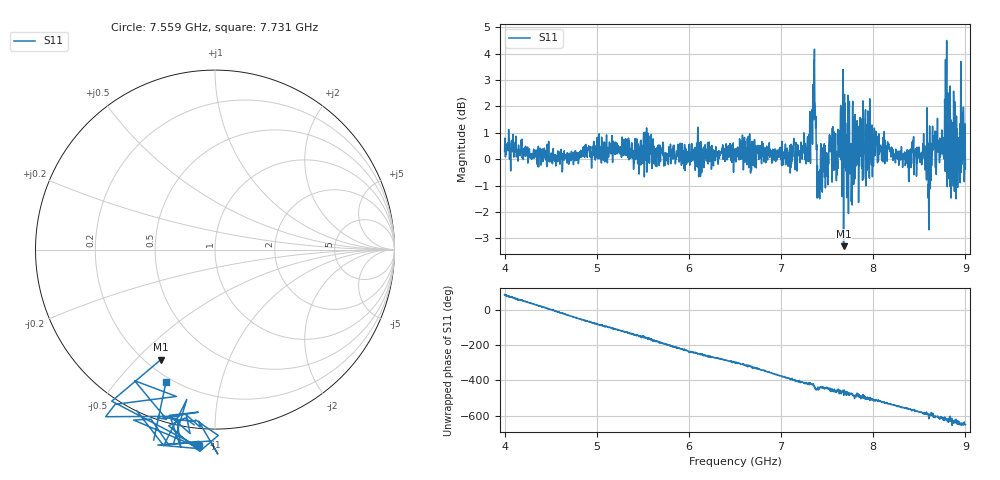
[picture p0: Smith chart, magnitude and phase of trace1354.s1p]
! Created with skrf 1.8.0 (http://scikit-rf.org).
# Hz S RI R 50.0
!freq ReS11 ImS11
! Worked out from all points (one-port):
!   1601 points, 4 GHz to 9 GHz, reference 50 ohm
!   lowest |S11| = -3.3 dB at 7.678 GHz (marker M1), VSWR 5.33, Z = 12.8 - j29.6 ohm
!   |S11| at or under -10 dB: nowhere
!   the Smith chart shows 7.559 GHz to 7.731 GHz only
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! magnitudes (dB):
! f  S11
! 4 GHz  0.3
! 4.625 GHz  -0.5
! 5.25 GHz  0.2
! 5.875 GHz  0.3
! 6.5 GHz  0.2
! 7.125 GHz  0.3
! 7.281 GHz  0.4
! 7.347 GHz  2.8
! 7.369 GHz  2.1
! 7.4 GHz  -0.6
! 7.416 GHz  -1.2
! 7.538 GHz  0.8
! 7.591 GHz  1.0
! 7.65 GHz  1.8
! 7.678 GHz  -3.3
! 7.75 GHz  0.1
! 7.962 GHz  2.3
! 8.375 GHz  -0.3
! 8.562 GHz  -0.4
! 8.612 GHz  1.3
! 8.656 GHz  0.9
! 8.747 GHz  0.2
! 8.784 GHz  3.8
! 8.825 GHz  0.8
! 8.872 GHz  2.6
! 8.919 GHz  -0.3
! 8.972 GHz  0.7
! 9 GHz  -0.4
